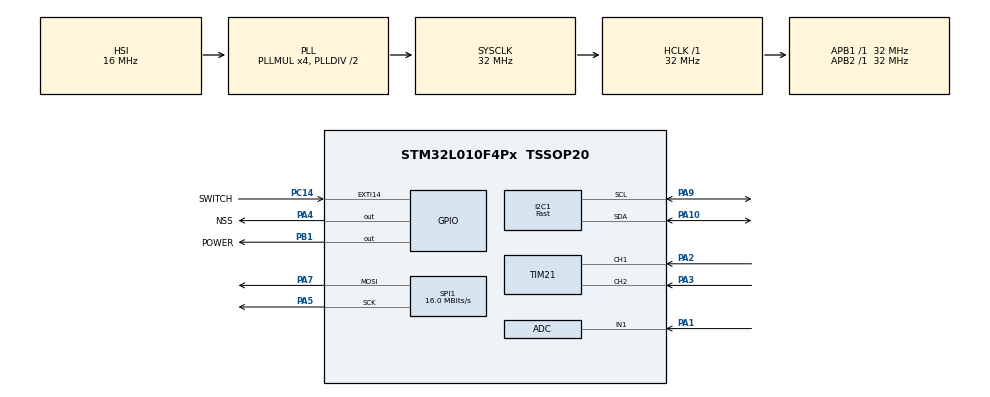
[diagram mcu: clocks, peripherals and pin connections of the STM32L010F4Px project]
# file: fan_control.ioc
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I2C1.Analog_Filter=I2C_ANALOGFILTER_DISABLE
I2C1.I2C_Speed_Mode=I2C_Fast
I2C1.Timing=0x00601133
Mcu.Family=STM32L0
Mcu.Name=STM32L010F4Px
Mcu.Package=TSSOP20
NVIC.EXTI4_15_IRQn=true\:3\:0\:true\:false\:true\:true\:true\:true
NVIC.TIM2_IRQn=true\:2\:0\:true\:false\:true\:true\:true\:true
PA1.Mode=IN1
PA1.Signal=ADC_IN1
PA10.GPIO_Pu=GPIO_NOPULL
PA10.Mode=I2C
PA10.Signal=I2C1_SDA
PA13.Mode=Serial_Wire
PA13.Signal=SYS_SWDIO
PA14.Mode=Serial_Wire
PA14.Signal=SYS_SWCLK
PA2.GPIO_ModeDefaultPP=GPIO_MODE_AF_PP
PA2.GPIO_PuPd=GPIO_PULLDOWN
PA2.GPIO_Speed=GPIO_SPEED_FREQ_MEDIUM
PA2.Signal=S_TIM21_CH1
PA3.GPIO_ModeDefaultPP=GPIO_MODE_AF_PP
PA3.GPIO_PuPd=GPIO_PULLDOWN
PA3.GPIO_Speed=GPIO_SPEED_FREQ_MEDIUM
PA3.Signal=S_TIM21_CH2
PA4.GPIO_Label=NSS
PA4.PinState=GPIO_PIN_SET
PA4.Signal=GPIO_Output
PA5.Mode=TX_Only_Simplex_Unidirect_Master
PA5.Signal=SPI1_SCK
PA7.Mode=TX_Only_Simplex_Unidirect_Master
PA7.Signal=SPI1_MOSI
PA9.GPIO_Pu=GPIO_NOPULL
PA9.Mode=I2C
PA9.Signal=I2C1_SCL
PB1.GPIO_Label=POWER
PB1.GPIO_PuPd=GPIO_PULLDOWN
PB1.GPIO_Speed=GPIO_SPEED_FREQ_LOW
PB1.PinState=GPIO_PIN_SET
PB1.Signal=GPIO_Output
PC14-OSC32_IN.GPIO_Label=SWITCH
PC14-OSC32_IN.GPIO_ModeDefaultEXTI=GPIO_MODE_IT_FALLING
PC14-OSC32_IN.GPIO_PuPd=GPIO_PULLUP
PC14-OSC32_IN.Signal=GPXTI14
ProjectManager.HeapSize=0x00
ProjectManager.StackSize=0x400
ProjectManager.TargetToolchain=MDK-ARM V5.32
RCC.AHBFreq_Value=32000000
RCC.APB1Freq_Value=32000000
RCC.APB1TimFreq_Value=32000000
RCC.APB2Freq_Value=32000000
RCC.APB2TimFreq_Value=32000000
RCC.HCLKFreq_Value=32000000
RCC.HSE_VALUE=8000000
RCC.HSI16_VALUE=16000000
RCC.HSI_VALUE=16000000
RCC.LSE_VALUE=32768
RCC.LptimClockSelection=RCC_LPTIM1CLKSOURCE_HSI
RCC.MSI_VALUE=2097000
RCC.PLLMUL=RCC_PLLMUL_4
RCC.SYSCLKFreq_VALUE=32000000
RCC.SYSCLKSource=RCC_SYSCLKSOURCE_PLLCLK
RCC.VCOOutputFreq_Value=64000000
SH.S_TIM21_CH1.0=TIM21_CH1,Encoder_Interface
SH.S_TIM21_CH2.0=TIM21_CH2,Encoder_Interface
SPI1.BaudRatePrescaler=SPI_BAUDRATEPRESCALER_2
SPI1.CLKPolarity=SPI_POLARITY_LOW
SPI1.CalculateBaudRate=16.0 MBits/s
SPI1.Direction=SPI_DIRECTION_2LINES
SPI1.Mode=SPI_MODE_MASTER
SPI1.VirtualType=VM_MASTER
TIM2.Period=15000-1
TIM2.Prescaler=32000-1
TIM21.EncoderMode=TIM_ENCODERMODE_TI12
TIM21.IC1Filter=3
TIM21.IC1Polarity=TIM_ICPOLARITY_RISING
TIM21.IC2Filter=3
TIM21.IC2Polarity=TIM_ICPOLARITY_RISING
VP_IWDG_VS_IWDG.Mode=IWDG_Activate
VP_SYS_VS_LPOM.Mode=PowerOptimisation
VP_TIM2_VS_ClockSourceINT.Mode=Internal
board=custom

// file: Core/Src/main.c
/* USER CODE BEGIN Header */
/**
  ******************************************************************************
  * @file           : main.c
  * @brief          : Main program body
  ******************************************************************************
  * @attention
  *
  * Copyright (c) 2025 STMicroelectronics.
  * All rights reserved.
  *
  * This software is licensed under terms that can be found in the LICENSE file
  * in the root directory of this software component.
  * If no LICENSE file comes with this software, it is provided AS-IS.
  *
  ******************************************************************************
  */
/* USER CODE END Header */
#include "main.h"
#include "adc.h"
#include "i2c.h"
#include "iwdg.h"
#include "spi.h"
#include "tim.h"
#include "gpio.h"

/* USER CODE BEGIN Includes */
#include <stdbool.h>
#include "oled.h"
#include "wheel.h"
#include "resistor_calculate.h"
/* USER CODE END Includes */

/* USER CODE BEGIN PD */
void show_volt(void);
void show_power_off(void);
void power_handler(void);
void spi_transmit(void);
void resistor_calculate(void);
/* USER CODE END PD */

/* USER CODE BEGIN PV */
int volt=0;
uint8_t data=255;
volatile bool oled_switch=0;
/* USER CODE END PV */

void SystemClock_Config(void);

int main(void)
{

  /* MCU Configuration--------------------------------------------------------*/

  /* Reset of all peripherals, Initializes the Flash interface and the Systick. */
  HAL_Init();

  /* Configure the system clock */
  SystemClock_Config();

  /* Initialize all configured peripherals */
  MX_GPIO_Init();
  MX_I2C1_Init();
  MX_SPI1_Init();
  MX_ADC_Init();
  MX_TIM21_Init();
  MX_TIM2_Init();
  MX_IWDG_Init();
  /* USER CODE BEGIN 2 */
    HAL_GPIO_WritePin(GPIOB,GPIO_PIN_1,GPIO_PIN_RESET);
	HAL_TIM_Encoder_Start(&htim21,TIM_CHANNEL_ALL);
	OLED_Init();
	OLED_Clear();
	OLED_WriteCmd(0xAE);
	wheel_init();
  /* USER CODE END 2 */

  /* Infinite loop */
  while (1)
  {

    /* USER CODE BEGIN 3 */
	  	power_handler();
	  	wheel_update();
		resistor_calculate();
		spi_transmit();
	  	show_volt();
		HAL_IWDG_Refresh (&hiwdg);
  }
  /* USER CODE END 3 */
}

void SystemClock_Config(void)
{
  RCC_OscInitTypeDef RCC_OscInitStruct = {0};
  RCC_ClkInitTypeDef RCC_ClkInitStruct = {0};
  RCC_PeriphCLKInitTypeDef PeriphClkInit = {0};

  /** Configure the main internal regulator output voltage
  */
  __HAL_PWR_VOLTAGESCALING_CONFIG(PWR_REGULATOR_VOLTAGE_SCALE1);

  /** Initializes the RCC Oscillators according to the specified parameters
  * in the RCC_OscInitTypeDef structure.
  */
  RCC_OscInitStruct.OscillatorType = RCC_OSCILLATORTYPE_HSI|RCC_OSCILLATORTYPE_LSI;
  RCC_OscInitStruct.HSIState = RCC_HSI_ON;
  RCC_OscInitStruct.HSICalibrationValue = RCC_HSICALIBRATION_DEFAULT;
  RCC_OscInitStruct.LSIState = RCC_LSI_ON;
  RCC_OscInitStruct.PLL.PLLState = RCC_PLL_ON;
  RCC_OscInitStruct.PLL.PLLSource = RCC_PLLSOURCE_HSI;
  RCC_OscInitStruct.PLL.PLLMUL = RCC_PLLMUL_4;
  RCC_OscInitStruct.PLL.PLLDIV = RCC_PLLDIV_2;
  if (HAL_RCC_OscConfig(&RCC_OscInitStruct) != HAL_OK)
  {
    Error_Handler();
  }

  /** Initializes the CPU, AHB and APB buses clocks
  */
  RCC_ClkInitStruct.ClockType = RCC_CLOCKTYPE_HCLK|RCC_CLOCKTYPE_SYSCLK
                              |RCC_CLOCKTYPE_PCLK1|RCC_CLOCKTYPE_PCLK2;
  RCC_ClkInitStruct.SYSCLKSource = RCC_SYSCLKSOURCE_PLLCLK;
  RCC_ClkInitStruct.AHBCLKDivider = RCC_SYSCLK_DIV1;
  RCC_ClkInitStruct.APB1CLKDivider = RCC_HCLK_DIV1;
  RCC_ClkInitStruct.APB2CLKDivider = RCC_HCLK_DIV1;

  if (HAL_RCC_ClockConfig(&RCC_ClkInitStruct, FLASH_LATENCY_1) != HAL_OK)
  {
    Error_Handler();
  }
  PeriphClkInit.PeriphClockSelection = RCC_PERIPHCLK_I2C1;
  PeriphClkInit.I2c1ClockSelection = RCC_I2C1CLKSOURCE_PCLK1;
  if (HAL_RCCEx_PeriphCLKConfig(&PeriphClkInit) != HAL_OK)
  {
    Error_Handler();
  }
}

/* USER CODE BEGIN 4 */
void spi_transmit(){
	static uint8_t last_data=0;
	if(data==last_data) return;
	last_data=data;
	HAL_GPIO_WritePin (GPIOA,GPIO_PIN_4,GPIO_PIN_RESET);
	HAL_SPI_Transmit(&hspi1,&last_data,1,50);
	HAL_GPIO_WritePin (GPIOA,GPIO_PIN_4,GPIO_PIN_SET);
}
void show_volt(void){
	if(oled_switch==0)return;
	OLED_ShowNum32(0,(volt/1000)%10);
	OLED_ShowNum32(16,(volt/100)%10);
	OLED_ShowNum32(40,(volt/10)%10);
	OLED_ShowNum32(56,volt%10);
}
void show_power_off(){
	OLED_PutChar(80,'O');
	OLED_PutChar(96,'F');
	OLED_PutChar(112,'F');
}
void power_handler(){
	static bool turned_off=1;
	static bool turned_on=0;
	static bool output_enabled=0;
	static bool output_disabled=0;
	if(oled_switch==0&&turned_off==0){
		GPIOA->PUPDR =
			(GPIOA->PUPDR & ~(GPIO_PUPDR_PUPD2_Msk | GPIO_PUPDR_PUPD3_Msk)) |
               (GPIO_PULLDOWN << 4) |  // PA2偏移：2×2=4
               (GPIO_PULLDOWN << 6); // PA3偏移：3×2=6
		HAL_TIM_Base_Stop_IT(&htim2);
		__HAL_TIM_SET_COUNTER(&htim2,0);
		OLED_WriteCmd(0xAE);
		turned_off=1;
		turned_on=0;
	}
	if(oled_switch==1&&turned_on==0){
		GPIOA->PUPDR =
			(GPIOA->PUPDR & ~(GPIO_PUPDR_PUPD2_Msk | GPIO_PUPDR_PUPD3_Msk)) |
               (GPIO_PULLUP << 4) |  // PA2偏移：2×2=4
               (GPIO_PULLUP << 6); // PA3偏移：3×2=6
		HAL_TIM_Base_Start_IT(&htim2);
		OLED_WriteCmd(0xAF);
		turned_off=0;
		turned_on=1;
	}
	if(volt<200&&output_disabled==0){
		output_disabled=1;
		output_enabled=0;
		OLED_Clear();
		OLED_ShowDot(3,33);
		show_power_off();
		HAL_GPIO_WritePin(GPIOB,GPIO_PIN_1,GPIO_PIN_RESET);
	}
	if(volt>=200&&output_enabled==0){
		output_disabled=0;
		output_enabled=1;
		OLED_Clear();
		OLED_PutChar(72,'V');
		OLED_ShowDot(3,33);
		HAL_GPIO_WritePin(GPIOB,GPIO_PIN_1,GPIO_PIN_SET);
	}
}
void HAL_GPIO_EXTI_Callback(uint16_t GPIO_Pin)
{
	static uint32_t last_interrupt_time = 0;
	uint32_t current_time = HAL_GetTick();
	if(current_time - last_interrupt_time < 50
		&&current_time - last_interrupt_time >10000) return;
    last_interrupt_time = current_time;

	if(GPIO_Pin == SWITCH_Pin)
	{
		oled_switch=!oled_switch;
	}
}
void HAL_TIM_PeriodElapsedCallback(TIM_HandleTypeDef *htim){
	oled_switch=0;
	HAL_TIM_Base_Stop(&htim2);
	__HAL_TIM_SET_COUNTER(&htim2,0);
}
/* USER CODE END 4 */

void Error_Handler(void)
{
  __disable_irq();
  while (1)
  {
  }
}
